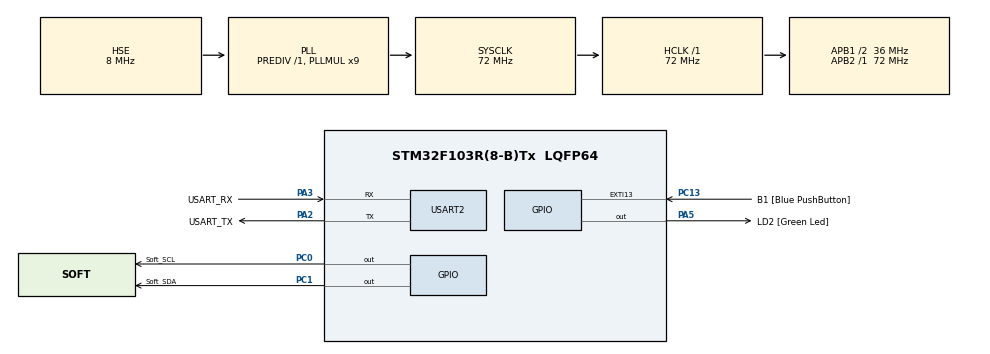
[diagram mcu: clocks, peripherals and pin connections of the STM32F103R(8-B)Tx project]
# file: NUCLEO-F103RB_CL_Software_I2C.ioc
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Dma.Request0=USART2_RX
Dma.USART2_RX.0.Direction=DMA_PERIPH_TO_MEMORY
Dma.USART2_RX.0.Instance=DMA1_Channel6
Dma.USART2_RX.0.MemDataAlignment=DMA_MDATAALIGN_BYTE
Dma.USART2_RX.0.MemInc=DMA_MINC_ENABLE
Dma.USART2_RX.0.Mode=DMA_CIRCULAR
Dma.USART2_RX.0.PeriphDataAlignment=DMA_PDATAALIGN_BYTE
Dma.USART2_RX.0.PeriphInc=DMA_PINC_DISABLE
Dma.USART2_RX.0.Priority=DMA_PRIORITY_MEDIUM
Mcu.Family=STM32F1
Mcu.Name=STM32F103R(8-B)Tx
Mcu.Package=LQFP64
NVIC.DMA1_Channel6_IRQn=true\:0\:0\:false\:false\:true\:false\:true\:true
NVIC.EXTI15_10_IRQn=true\:0\:0\:false\:false\:true\:true\:true\:true
NVIC.PriorityGroup=NVIC_PRIORITYGROUP_4
PA13.GPIO_Label=TMS
PA13.Mode=Serial_Wire
PA13.Signal=SYS_JTMS-SWDIO
PA14.GPIO_Label=TCK
PA14.Mode=Serial_Wire
PA14.Signal=SYS_JTCK-SWCLK
PA2.GPIO_Label=USART_TX
PA2.GPIO_Mode=GPIO_MODE_AF_PP
PA2.GPIO_PuPd=GPIO_NOPULL
PA2.GPIO_Speed=GPIO_SPEED_FREQ_LOW
PA2.Mode=Asynchronous
PA2.Signal=USART2_TX
PA3.GPIO_Label=USART_RX
PA3.GPIO_Mode=GPIO_MODE_AF_PP
PA3.GPIO_PuPd=GPIO_NOPULL
PA3.GPIO_Speed=GPIO_SPEED_FREQ_LOW
PA3.Mode=Asynchronous
PA3.Signal=USART2_RX
PA5.GPIO_Label=LD2 [Green Led]
PA5.GPIO_ModeDefaultOutputPP=GPIO_MODE_OUTPUT_PP
PA5.GPIO_PuPd=GPIO_NOPULL
PA5.GPIO_Speed=GPIO_SPEED_FREQ_LOW
PA5.Signal=GPIO_Output
PB3.GPIO_Label=SWO
PB3.Signal=SYS_JTDO-TRACESWO
PC0.GPIO_Label=Soft_SCL
PC0.GPIO_ModeDefaultOutputPP=GPIO_MODE_OUTPUT_OD
PC0.GPIO_PuPd=GPIO_NOPULL
PC0.GPIO_Speed=GPIO_SPEED_FREQ_HIGH
PC0.PinState=GPIO_PIN_SET
PC0.Signal=GPIO_Output
PC1.GPIO_Label=Soft_SDA
PC1.GPIO_ModeDefaultOutputPP=GPIO_MODE_OUTPUT_OD
PC1.GPIO_PuPd=GPIO_NOPULL
PC1.GPIO_Speed=GPIO_SPEED_FREQ_HIGH
PC1.PinState=GPIO_PIN_SET
PC1.Signal=GPIO_Output
PC13-TAMPER-RTC.GPIO_Label=B1 [Blue PushButton]
PC13-TAMPER-RTC.GPIO_PuPd=GPIO_NOPULL
PC13-TAMPER-RTC.Signal=GPXTI13
PC14-OSC32_IN.Mode=LSE-External-Oscillator
PC14-OSC32_IN.Signal=RCC_OSC32_IN
PC15-OSC32_OUT.Mode=LSE-External-Oscillator
PC15-OSC32_OUT.Signal=RCC_OSC32_OUT
PD0-OSC_IN.Mode=HSE-External-Clock-Source
PD0-OSC_IN.Signal=RCC_OSC_IN
PD1-OSC_OUT.Mode=HSE-External-Clock-Source
PD1-OSC_OUT.Signal=RCC_OSC_OUT
ProjectManager.HeapSize=0x400
ProjectManager.StackSize=0x800
ProjectManager.TargetToolchain=STM32CubeIDE
RCC.AHBFreq_Value=72000000
RCC.APB1CLKDivider=RCC_HCLK_DIV2
RCC.APB1Freq_Value=36000000
RCC.APB1TimFreq_Value=72000000
RCC.APB2Freq_Value=72000000
RCC.APB2TimFreq_Value=72000000
RCC.HCLKFreq_Value=72000000
RCC.PLLMUL=RCC_PLL_MUL9
RCC.PLLSourceVirtual=RCC_PLLSOURCE_HSE
RCC.RTCClockSelection=RCC_RTCCLKSOURCE_LSE
RCC.SYSCLKFreq_VALUE=72000000
RCC.SYSCLKSource=RCC_SYSCLKSOURCE_PLLCLK
RCC.USBFreq_Value=72000000
TIM4.Prescaler=72-1
USART2.VirtualMode=VM_ASYNC
VP_TIM4_VS_ClockSourceINT.Mode=Internal
board=NUCLEO-F103RB

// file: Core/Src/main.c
/* USER CODE BEGIN Header */
/**
  ******************************************************************************
  * @file           : main.c
  * @brief          : Main program body
  ******************************************************************************
  * @attention
  *
  * Copyright (c) 2024 STMicroelectronics.
  * All rights reserved.
  *
  * This software is licensed under terms that can be found in the LICENSE file
  * in the root directory of this software component.
  * If no LICENSE file comes with this software, it is provided AS-IS.
  *
  ******************************************************************************
  */
/* USER CODE END Header */
#include "main.h"
#include <stdio.h>
//#include <string.h>
//#include <stdlib.h>
#include <stdint.h> // uint8_t
#include "command_line.h"

TIM_HandleTypeDef htim4;

UART_HandleTypeDef huart2;
DMA_HandleTypeDef hdma_usart2_rx;

void SystemClock_Config(void);
static void MX_GPIO_Init(void);
static void MX_DMA_Init(void);
static void MX_USART2_UART_Init(void);
static void MX_TIM4_Init(void);

/* USER CODE BEGIN 0 */
#define HAL_SMALL_WAIT  40

// Define serial input and output functions using UART2
// DMA Buffer for usart2 RX
//#define USART2_RX_DMA_BUFFER_SIZE 1030 // any size will do, but we may want to choose X-Modem 1K receive size
#define USART2_RX_DMA_BUFFER_SIZE 80
uint8_t usart2_rx_dma_buffer[USART2_RX_DMA_BUFFER_SIZE];

// Implement a get_byte(void) function that utilizes a circular DMA RX buffer that:
// 1) Tests if data is available in the DMA RX buffer
// 2) Pulls and returns the data
// 3) Manages an index_out value for next removal of data
// 4) As a non-blocking function, return EOF when no bytes are available, else returns data byte
int __io_getchar(void)
{
#if 1
	// The following supports STM32-F103RB for UART DMA Receive
	static uint16_t index_out = 0;
	uint16_t index_in = USART2_RX_DMA_BUFFER_SIZE - huart2.hdmarx->Instance->CNDTR;
	if(index_in == index_out) return EOF;
	// Else, we have a byte in buffer to return
	uint8_t data = usart2_rx_dma_buffer[index_out];
	// advance index
	index_out++;
	// wrap index when necessary
	if(index_out >= USART2_RX_DMA_BUFFER_SIZE) index_out = 0;
	return data;

#else
	// Brain dead polling
	char ch;
	if(HAL_OK == HAL_UART_Receive(&huart2, (uint8_t *)&ch, 1, 50))
	    return ch;
	else
		return EOF;
#endif

}

int __io_putchar(int ch)
{
    HAL_UART_Transmit(&huart2, (uint8_t *)&ch, 1, HAL_SMALL_WAIT);
    return 1;
}
/* USER CODE END 0 */

int main(void)
{

  /* MCU Configuration--------------------------------------------------------*/

  /* Reset of all peripherals, Initializes the Flash interface and the Systick. */
  HAL_Init();

  /* Configure the system clock */
  SystemClock_Config();

  /* Initialize all configured peripherals */
  MX_GPIO_Init();
  MX_DMA_Init();
  MX_USART2_UART_Init();
  MX_TIM4_Init();
  /* USER CODE BEGIN 2 */
  //setvbuf(stdout, NULL, _IONBF, 0);	// Disable stdio output buffering
  // Define DMA buffer for UART peripheral
  HAL_UART_Receive_DMA(&huart2, usart2_rx_dma_buffer, USART2_RX_DMA_BUFFER_SIZE);
  cl_setup(); // calls setvbuf()
  /* USER CODE END 2 */

  /* Infinite loop */
  /* USER CODE BEGIN WHILE */
  while (1)
  {
	cl_loop();	// check for serial character input for command line
    /* USER CODE END WHILE */

  }
}

void SystemClock_Config(void)
{
  RCC_OscInitTypeDef RCC_OscInitStruct = {0};
  RCC_ClkInitTypeDef RCC_ClkInitStruct = {0};

  /** Initializes the RCC Oscillators according to the specified parameters
  * in the RCC_OscInitTypeDef structure.
  */
  RCC_OscInitStruct.OscillatorType = RCC_OSCILLATORTYPE_HSE;
  RCC_OscInitStruct.HSEState = RCC_HSE_BYPASS;
  RCC_OscInitStruct.HSEPredivValue = RCC_HSE_PREDIV_DIV1;
  RCC_OscInitStruct.HSIState = RCC_HSI_ON;
  RCC_OscInitStruct.PLL.PLLState = RCC_PLL_ON;
  RCC_OscInitStruct.PLL.PLLSource = RCC_PLLSOURCE_HSE;
  RCC_OscInitStruct.PLL.PLLMUL = RCC_PLL_MUL9;
  if (HAL_RCC_OscConfig(&RCC_OscInitStruct) != HAL_OK)
  {
    Error_Handler();
  }

  /** Initializes the CPU, AHB and APB buses clocks
  */
  RCC_ClkInitStruct.ClockType = RCC_CLOCKTYPE_HCLK|RCC_CLOCKTYPE_SYSCLK
                              |RCC_CLOCKTYPE_PCLK1|RCC_CLOCKTYPE_PCLK2;
  RCC_ClkInitStruct.SYSCLKSource = RCC_SYSCLKSOURCE_PLLCLK;
  RCC_ClkInitStruct.AHBCLKDivider = RCC_SYSCLK_DIV1;
  RCC_ClkInitStruct.APB1CLKDivider = RCC_HCLK_DIV2;
  RCC_ClkInitStruct.APB2CLKDivider = RCC_HCLK_DIV1;

  if (HAL_RCC_ClockConfig(&RCC_ClkInitStruct, FLASH_LATENCY_2) != HAL_OK)
  {
    Error_Handler();
  }
}

static void MX_TIM4_Init(void)
{

  TIM_ClockConfigTypeDef sClockSourceConfig = {0};
  TIM_MasterConfigTypeDef sMasterConfig = {0};

  htim4.Instance = TIM4;
  htim4.Init.Prescaler = 72-1;
  htim4.Init.CounterMode = TIM_COUNTERMODE_UP;
  htim4.Init.Period = 65535;
  htim4.Init.ClockDivision = TIM_CLOCKDIVISION_DIV1;
  htim4.Init.AutoReloadPreload = TIM_AUTORELOAD_PRELOAD_DISABLE;
  if (HAL_TIM_Base_Init(&htim4) != HAL_OK)
  {
    Error_Handler();
  }
  sClockSourceConfig.ClockSource = TIM_CLOCKSOURCE_INTERNAL;
  if (HAL_TIM_ConfigClockSource(&htim4, &sClockSourceConfig) != HAL_OK)
  {
    Error_Handler();
  }
  sMasterConfig.MasterOutputTrigger = TIM_TRGO_RESET;
  sMasterConfig.MasterSlaveMode = TIM_MASTERSLAVEMODE_DISABLE;
  if (HAL_TIMEx_MasterConfigSynchronization(&htim4, &sMasterConfig) != HAL_OK)
  {
    Error_Handler();
  }
  /* USER CODE BEGIN TIM4_Init 2 */
  HAL_TIM_Base_Start(&htim4);

  /* USER CODE END TIM4_Init 2 */

}

static void MX_USART2_UART_Init(void)
{

  huart2.Instance = USART2;
  huart2.Init.BaudRate = 115200;
  huart2.Init.WordLength = UART_WORDLENGTH_8B;
  huart2.Init.StopBits = UART_STOPBITS_1;
  huart2.Init.Parity = UART_PARITY_NONE;
  huart2.Init.Mode = UART_MODE_TX_RX;
  huart2.Init.HwFlowCtl = UART_HWCONTROL_NONE;
  huart2.Init.OverSampling = UART_OVERSAMPLING_16;
  if (HAL_UART_Init(&huart2) != HAL_OK)
  {
    Error_Handler();
  }

}

static void MX_DMA_Init(void)
{

  /* DMA controller clock enable */
  __HAL_RCC_DMA1_CLK_ENABLE();

  /* DMA interrupt init */
  /* DMA1_Channel6_IRQn interrupt configuration */
  HAL_NVIC_SetPriority(DMA1_Channel6_IRQn, 0, 0);
  HAL_NVIC_EnableIRQ(DMA1_Channel6_IRQn);

}

static void MX_GPIO_Init(void)
{
  GPIO_InitTypeDef GPIO_InitStruct = {0};

  /* GPIO Ports Clock Enable */
  __HAL_RCC_GPIOC_CLK_ENABLE();
  __HAL_RCC_GPIOD_CLK_ENABLE();
  __HAL_RCC_GPIOA_CLK_ENABLE();
  __HAL_RCC_GPIOB_CLK_ENABLE();

  /*Configure GPIO pin Output Level */
  HAL_GPIO_WritePin(GPIOC, Soft_SCL_Pin|Soft_SDA_Pin, GPIO_PIN_SET);

  /*Configure GPIO pin Output Level */
  HAL_GPIO_WritePin(LD2_GPIO_Port, LD2_Pin, GPIO_PIN_RESET);

  /*Configure GPIO pin : B1_Pin */
  GPIO_InitStruct.Pin = B1_Pin;
  GPIO_InitStruct.Mode = GPIO_MODE_IT_RISING;
  GPIO_InitStruct.Pull = GPIO_NOPULL;
  HAL_GPIO_Init(B1_GPIO_Port, &GPIO_InitStruct);

  /*Configure GPIO pins : Soft_SCL_Pin Soft_SDA_Pin */
  GPIO_InitStruct.Pin = Soft_SCL_Pin|Soft_SDA_Pin;
  GPIO_InitStruct.Mode = GPIO_MODE_OUTPUT_OD;
  GPIO_InitStruct.Pull = GPIO_NOPULL;
  GPIO_InitStruct.Speed = GPIO_SPEED_FREQ_HIGH;
  HAL_GPIO_Init(GPIOC, &GPIO_InitStruct);

  /*Configure GPIO pin : LD2_Pin */
  GPIO_InitStruct.Pin = LD2_Pin;
  GPIO_InitStruct.Mode = GPIO_MODE_OUTPUT_PP;
  GPIO_InitStruct.Pull = GPIO_NOPULL;
  GPIO_InitStruct.Speed = GPIO_SPEED_FREQ_LOW;
  HAL_GPIO_Init(LD2_GPIO_Port, &GPIO_InitStruct);

  /* EXTI interrupt init*/
  HAL_NVIC_SetPriority(EXTI15_10_IRQn, 0, 0);
  HAL_NVIC_EnableIRQ(EXTI15_10_IRQn);

}

void Error_Handler(void)
{
  __disable_irq();
  while (1)
  {
  }
}
